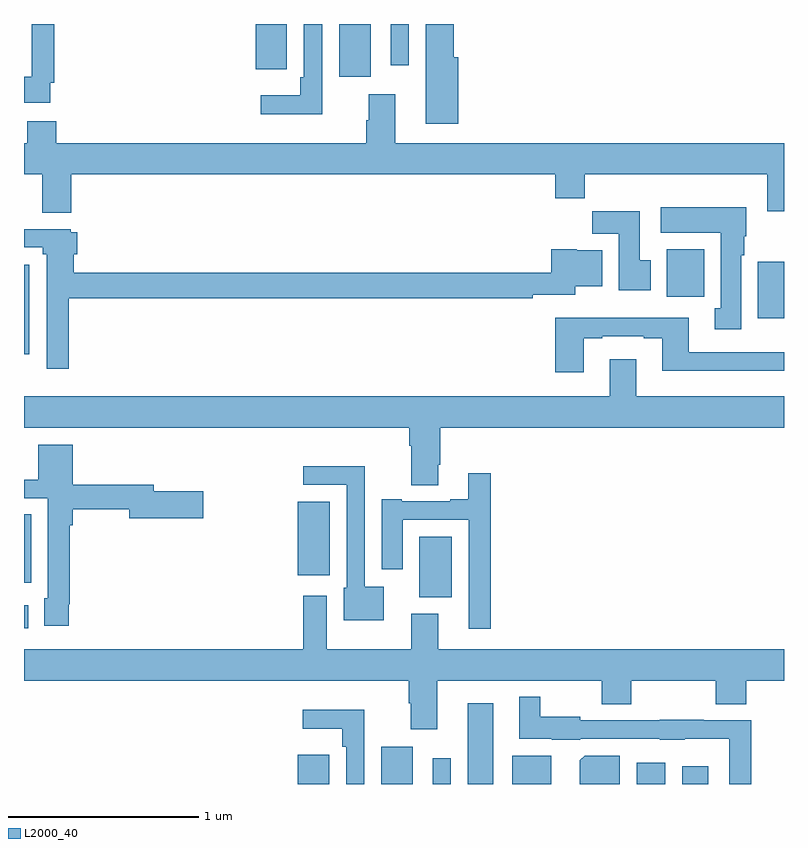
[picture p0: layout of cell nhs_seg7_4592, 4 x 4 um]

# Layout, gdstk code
import gdstk
lib = gdstk.Library(unit=1e-6, precision=1e-09)
def R(c, l, rs):  # rectangles x0, y0, x1, y1
    for r in rs: c.add(gdstk.rectangle(r[:2], r[2:], *l))
def P(c, l, *ps):  # polygons
    for p in ps: c.add(gdstk.Polygon(p, *l))
L2000_40 = (2000, 40)

nhs_seg7_4592 = lib.new_cell('nhs_seg7_4592')
R(nhs_seg7_4592, L2000_40, [(400.442,1072,400.606,1072.153), (400.88,1072,401.047,1072.195), (401.151,1072,401.247,1072.135), (401.336,1072,401.47,1072.426), (401.57,1072,401.776,1072.148), (402.224,1072,402.376,1072.111), (402.464,1072,402.601,1072.093), (399,1072.82,399.022,1072.942), (401.081,1072.982,401.251,1073.302), (399,1073.058,399.037,1073.42), (400.442,1073.099,400.609,1073.485), (399,1074.262,399.028,1074.733), (402.863,1074.452,403,1074.748), (402.383,1074.564,402.579,1074.814), (400.658,1075.722,400.825,1076), (400.22,1075.763,400.384,1076), (400.929,1075.782,401.025,1076)])
P(nhs_seg7_4592, L2000_40, [(401.285,1075.824),(401.261,1075.824),(401.261,1076),(401.114,1076),(401.114,1075.476),(401.285,1075.476)],
  [(399.138,1075.69),(399.158,1075.69),(399.158,1076),(399.042,1076),(399.042,1075.723),(399,1075.723),(399,1075.586),(399.138,1075.586)],
  [(400.569,1076),(400.473,1076),(400.473,1075.72),(400.453,1075.72),(400.453,1075.624),(400.245,1075.624),(400.245,1075.526),(400.569,1075.526)],
  [(399.095,1075.006),(399.248,1075.006),(399.248,1075.208),(401.795,1075.208),(401.795,1075.084),(401.951,1075.084),(401.951,1075.208),(402.911,1075.208),(402.911,1075.014),(403,1075.014),(403,1075.372),(400.954,1075.372),(400.954,1075.63),(400.814,1075.63),(400.814,1075.493),(400.802,1075.493),(400.802,1075.372),(399.17,1075.372),(399.17,1075.489),(399.017,1075.489),(399.017,1075.372),(399,1075.372),(399,1075.208),(399.095,1075.208)],
  [(402.775,1074.782),(402.79,1074.782),(402.79,1074.882),(402.802,1074.882),(402.802,1075.036),(402.351,1075.036),(402.351,1074.902),(402.668,1074.902),(402.668,1074.505),(402.635,1074.505),(402.635,1074.393),(402.775,1074.393)],
  [(402.298,1074.756),(402.241,1074.756),(402.241,1075.015),(401.992,1075.015),(401.992,1074.896),(402.131,1074.896),(402.131,1074.6),(402.298,1074.6)],
  [(399.236,1074.556),(401.678,1074.556),(401.678,1074.576),(401.902,1074.576),(401.902,1074.62),(402.043,1074.62),(402.043,1074.808),(401.91,1074.808),(401.91,1074.814),(401.774,1074.814),(401.774,1074.692),(399.263,1074.692),(399.263,1074.789),(399.281,1074.789),(399.281,1074.903),(399.246,1074.903),(399.246,1074.921),(399,1074.921),(399,1074.825),(399.098,1074.825),(399.098,1074.789),(399.12,1074.789),(399.12,1074.186),(399.236,1074.186)],
  [(401.947,1074.345),(402.043,1074.345),(402.043,1074.357),(402.263,1074.357),(402.263,1074.345),(402.359,1074.345),(402.359,1074.176),(403,1074.176),(403,1074.273),(402.499,1074.273),(402.499,1074.454),(401.795,1074.454),(401.795,1074.168),(401.947,1074.168)],
  [(401.179,1073.68),(401.192,1073.68),(401.192,1073.876),(403,1073.876),(403,1074.04),(402.223,1074.04),(402.223,1074.235),(402.083,1074.235),(402.083,1074.04),(399,1074.04),(399,1073.876),(401.027,1073.876),(401.027,1073.78),(401.039,1073.78),(401.039,1073.572),(401.179,1073.572)],
  [(399.235,1072.945),(399.242,1072.945),(399.242,1073.363),(399.256,1073.363),(399.256,1073.446),(399.554,1073.446),(399.554,1073.399),(399.943,1073.399),(399.943,1073.541),(399.682,1073.541),(399.682,1073.575),(399.256,1073.575),(399.256,1073.785),(399.074,1073.785),(399.074,1073.601),(399,1073.601),(399,1073.505),(399.126,1073.505),(399.126,1072.977),(399.107,1072.977),(399.107,1072.833),(399.235,1072.833)],
  [(400.894,1073.038),(400.794,1073.038),(400.794,1073.672),(400.47,1073.672),(400.47,1073.574),(400.698,1073.574),(400.698,1073.034),(400.682,1073.034),(400.682,1072.862),(400.894,1072.862)],
  [(401.456,1073.635),(401.339,1073.635),(401.339,1073.5),(401.243,1073.5),(401.243,1073.487),(400.987,1073.487),(400.987,1073.5),(400.883,1073.5),(400.883,1073.13),(400.993,1073.13),(400.993,1073.391),(401.34,1073.391),(401.34,1072.818),(401.456,1072.818)],
  [(401.176,1072.544),(402.04,1072.544),(402.04,1072.42),(402.195,1072.42),(402.195,1072.544),(402.64,1072.544),(402.64,1072.42),(402.8,1072.42),(402.8,1072.544),(403,1072.544),(403,1072.708),(401.179,1072.708),(401.179,1072.897),(401.039,1072.897),(401.039,1072.708),(400.594,1072.708),(400.594,1072.99),(400.469,1072.99),(400.469,1072.708),(399,1072.708),(399,1072.544),(401.024,1072.544),(401.024,1072.424),(401.036,1072.424),(401.036,1072.287),(401.176,1072.287)],
  [(402.827,1072.335),(402.577,1072.335),(402.577,1072.337),(402.345,1072.337),(402.345,1072.335),(401.928,1072.335),(401.928,1072.354),(401.716,1072.354),(401.716,1072.459),(401.606,1072.459),(401.606,1072.238),(401.778,1072.238),(401.778,1072.232),(401.928,1072.232),(401.928,1072.239),(402.345,1072.239),(402.345,1072.232),(402.477,1072.232),(402.477,1072.238),(402.711,1072.238),(402.711,1072),(402.827,1072)],
  [(400.791,1072.39),(400.467,1072.39),(400.467,1072.292),(400.675,1072.292),(400.675,1072.196),(400.695,1072.196),(400.695,1072),(400.791,1072)],
  [(402.136,1072.15),(401.95,1072.15),(401.924,1072.124),(401.924,1072),(402.136,1072)])

lib.write_gds('nhs_seg7_4592.gds')
